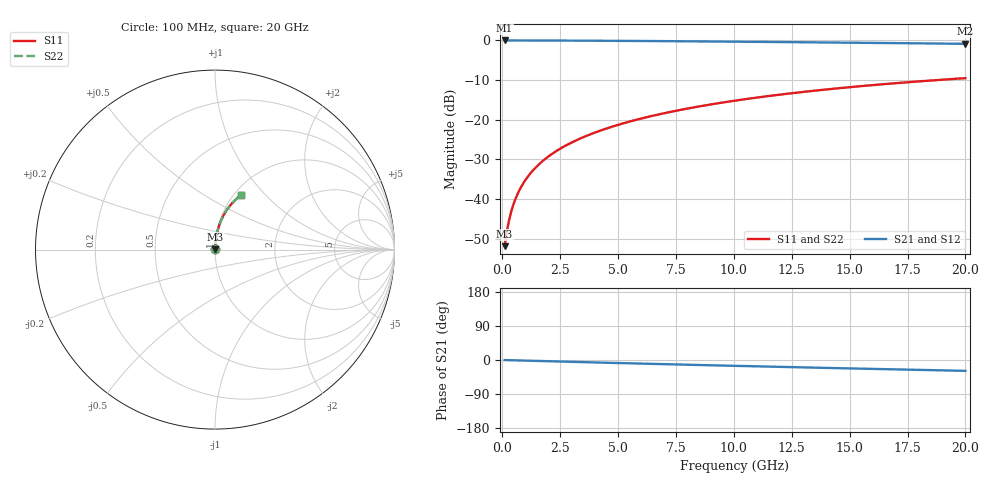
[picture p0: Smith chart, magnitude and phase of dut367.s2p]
! Touchstone file exported from HFSS 2024.1.0
!  File:  C:/UserFiles/LocalFiles/RDL_TSV_Batchsim/temp_RDL_top_367_1779608828.aedt
!  Generated:  03:49:54 PM May 24, 2026
!  Design:  RDL_top
!  Project:  temp_RDL_top_367_1779608828
!  Setup:  Setup1
!  Solution:  Sweep
! Variables:
!  dtsv = 10.80580581um
!  hbump = 3um
!  htsv = 99.07um
!  ldown = 100um
!  lrdl = 342.81um
!  p = 40
!  p1 = 55.14um
!  rhole = 1um
!  t = 450um
!  tdown = 3.915915916um
!  trdl = 4.61um
!  wdown = 15.38538539um
!  wrdl = 15.55um
# GHz S MA R 50.000000
! Terminal data exported
! Port[1] = Box2_T1
! Port[2] = Box2_T2
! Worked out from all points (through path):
!   200 points, 100 MHz to 20 GHz, reference 50 ohm
!   highest |S21| = -0.02 dB at 100 MHz (marker M1); lowest = -0.9 dB at 20 GHz (marker M2)
!   group delay of S21, straight-line fit = 3.96 ps
!   lowest |S11| = -51.9 dB at 100 MHz (marker M3), VSWR 1.01, Z = 50.2 + j0.18 ohm
!   |S11| at or under -10 dB: start of sweep to 18.78 GHz
!   |S22| runs from -51.9 to -9.5 dB; largest |S21 - S12| = 3.2e-15
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0.1  0.002548 44.7  0.9982 -0.2  0.9982 -0.2  0.002548 44.7
! Gamma 0 0 0 0
! Port Impedance 50 0 50 0
0.2  0.003952 62.2  0.9981 -0.3  0.9981 -0.3  0.003952 62.2
0.3  0.005538 70.3  0.998 -0.5  0.998 -0.5  0.005538 70.3
0.4  0.007191 74.7  0.998 -0.7  0.998 -0.7  0.007191 74.7
0.5  0.008874 77.4  0.9979 -0.8  0.9979 -0.8  0.008874 77.4
0.6  0.01057 79.2  0.9978 -1.0  0.9978 -1.0  0.01057 79.2
0.8  0.01399 81.4  0.9976 -1.3  0.9976 -1.3  0.01399 81.4
1.1  0.01913 83.1  0.9973 -1.8  0.9973 -1.8  0.01913 83.1
1.3  0.02257 83.7  0.997 -2.1  0.997 -2.1  0.02257 83.7
1.5  0.026 84.0  0.9968 -2.5  0.9968 -2.5  0.026 84.0
1.8  0.03114 84.4  0.9963 -2.9  0.9963 -2.9  0.03114 84.4
2.1  0.03629 84.5  0.9957 -3.4  0.9957 -3.4  0.03629 84.5
2.7  0.04657 84.5  0.9944 -4.4  0.9944 -4.4  0.04657 84.5
3.5  0.0603 84.2  0.9922 -5.7  0.9922 -5.7  0.0603 84.2
4.2  0.07235 83.8  0.9899 -6.8  0.9899 -6.8  0.07235 83.8
5  0.08618 83.2  0.987 -8.0  0.987 -8.0  0.08618 83.2
6.8  0.1175 81.4  0.9795 -10.7  0.9795 -10.7  0.1175 81.4
8.3  0.1436 79.8  0.9725 -12.9  0.9725 -12.9  0.1436 79.8
10.1  0.1749 77.6  0.9635 -15.5  0.9635 -15.5  0.1749 77.6
13.4  0.231 73.4  0.9454 -20.1  0.9454 -20.1  0.231 73.4
16.7  0.2844 69.0  0.926 -24.5  0.926 -24.5  0.2844 69.0
20  0.3343 64.7  0.9054 -28.6  0.9054 -28.6  0.3343 64.7
